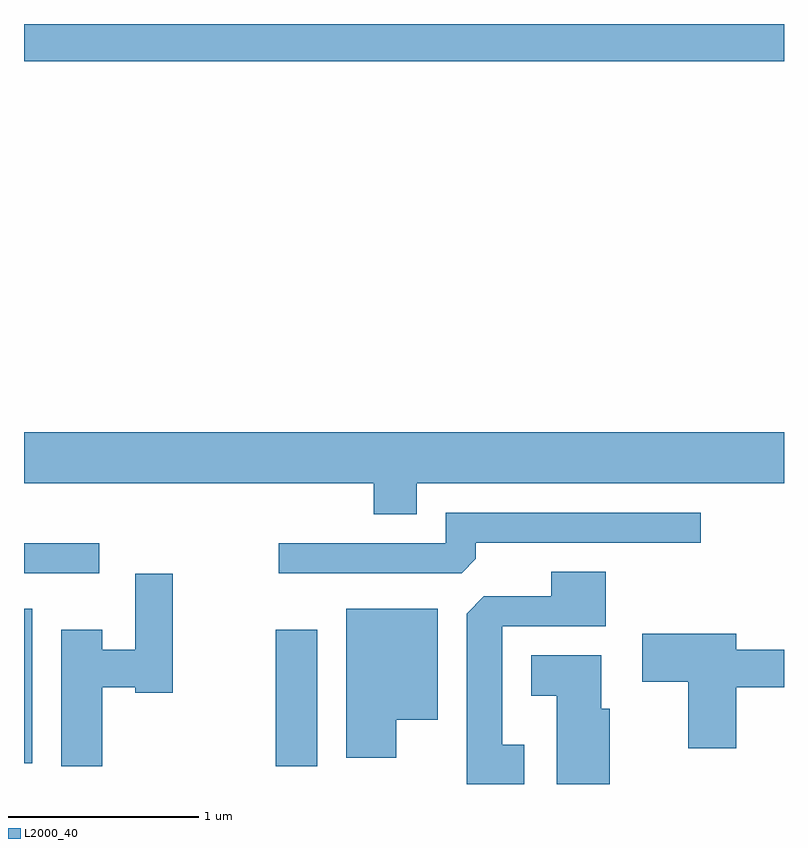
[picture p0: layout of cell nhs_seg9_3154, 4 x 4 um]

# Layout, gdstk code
import gdstk
lib = gdstk.Library(unit=1e-6, precision=1e-09)
def R(c, l, rs):  # rectangles x0, y0, x1, y1
    for r in rs: c.add(gdstk.rectangle(r[:2], r[2:], *l))
def P(c, l, *ps):  # polygons
    for p in ps: c.add(gdstk.Polygon(p, *l))
L2000_40 = (2000, 40)

nhs_seg9_3154 = lib.new_cell('nhs_seg9_3154')
R(nhs_seg9_3154, L2000_40, [(278.936,2012.526,279.154,2013.244), (277.611,2012.541,277.654,2013.354), (277.611,2013.541,278.008,2013.699), (277.611,2016.236,281.611,2016.432)])
P(nhs_seg9_3154, L2000_40, [(279.679,2014.016),(281.611,2014.016),(281.611,2014.284),(277.611,2014.284),(277.611,2014.016),(279.451,2014.016),(279.451,2013.851),(279.679,2013.851)],
  [(279.989,2013.617),(279.989,2013.701),(281.173,2013.701),(281.173,2013.859),(279.831,2013.859),(279.831,2013.699),(278.953,2013.699),(278.953,2013.541),(279.914,2013.541)],
  [(280.244,2012.639),(280.129,2012.639),(280.129,2013.261),(280.674,2013.261),(280.674,2013.549),(280.386,2013.549),(280.386,2013.419),(280.032,2013.419),(279.941,2013.329),(279.941,2012.432),(280.244,2012.432)],
  [(278.024,2012.941),(278.196,2012.941),(278.196,2012.911),(278.394,2012.911),(278.394,2013.539),(278.196,2013.539),(278.196,2013.139),(278.024,2013.139),(278.024,2013.244),(277.806,2013.244),(277.806,2012.526),(278.024,2012.526)],
  [(279.569,2012.771),(279.789,2012.771),(279.789,2013.354),(279.306,2013.354),(279.306,2012.571),(279.569,2012.571)],
  [(281.359,2012.941),(281.611,2012.941),(281.611,2013.139),(281.359,2013.139),(281.359,2013.224),(280.866,2013.224),(280.866,2012.971),(281.106,2012.971),(281.106,2012.621),(281.359,2012.621)],
  [(280.694,2012.829),(280.649,2012.829),(280.649,2013.109),(280.281,2013.109),(280.281,2012.896),(280.416,2012.896),(280.416,2012.432),(280.694,2012.432)])

lib.write_gds('nhs_seg9_3154.gds')
